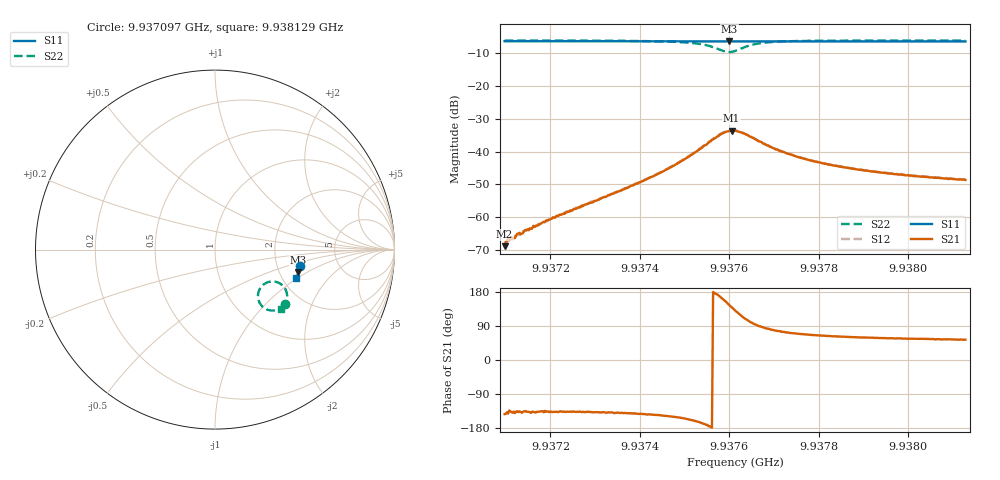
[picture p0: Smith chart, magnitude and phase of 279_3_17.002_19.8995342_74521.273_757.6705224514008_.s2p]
#  HZ  S  RI  R  50.00
! Rohde & Schwarz Vector Network Analyzer
! Rohde-Schwarz,ZNB20-2Port,1311601062101988,3.16
! Created: UTC 3/20/2024, 11:04:37 PM
! freq[Hz]  re:S11  im:S11  re:S21  im:S21  re:S12  im:S12  re:S22  im:S22
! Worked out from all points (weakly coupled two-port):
!   401 points, 9.937097 GHz to 9.938129 GHz, reference 50 ohm
!   highest |S21| = -33.59 dB at 9.937605 GHz (marker M1); lowest = -68.9 dB at 9.937097 GHz (marker M2)
!   lowest |S11| = -6.4 dB at 9.9376 GHz (marker M3), VSWR 2.84, Z = 126 - j41.4 ohm
!   |S11| at or under -10 dB: nowhere
!   |S22| runs from -9.6 to -6.1 dB; largest |S21 - S12| = 0.0009
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9.9370974e9  0.4751 -0.094  -0.000286 -0.000217  -0.000295 -0.000276  0.3928 -0.3049
9.9371077e9  0.475 -0.0946  -0.000303 -0.000322  -0.000356 -0.000297  0.3919 -0.3056
9.9371155e9  0.4748 -0.095  -0.000345 -0.000299  -0.000385 -0.0003  0.3915 -0.3061
9.9371284e9  0.4746 -0.0961  -0.000414 -0.000378  -0.000374 -0.000392  0.3905 -0.3071
9.9371748e9  0.4737 -0.0991  -0.00055 -0.00053  -0.000585 -0.000533  0.3869 -0.3108
9.9372186e9  0.4728 -0.1022  -0.000779 -0.000723  -0.000757 -0.000725  0.3831 -0.314
9.9372702e9  0.4717 -0.1057  -0.00109 -0.001  -0.00109 -0.00101  0.3777 -0.3187
9.9373707e9  0.4698 -0.1124  -0.00213 -0.00175  -0.00216 -0.00177  0.3638 -0.3281
9.9374429e9  0.4682 -0.1173  -0.00382 -0.00263  -0.00392 -0.00258  0.3455 -0.336
9.9374842e9  0.4671 -0.1203  -0.00575 -0.00316  -0.00589 -0.0031  0.3275 -0.3396
9.9375435e9  0.465 -0.1241  -0.012 -0.00242  -0.0122 -0.00226  0.277 -0.327
9.9375822e9  0.4634 -0.1259  -0.0178 0.0049  -0.0181 0.00557  0.2392 -0.2603
9.9376002e9  0.4628 -0.1261  -0.0169 0.0117  -0.0169 0.0124  0.2566 -0.2087
9.9376054e9  0.4629 -0.1263  -0.0159 0.0135  -0.0157 0.0142  0.268 -0.1965
9.9376131e9  0.463 -0.1267  -0.0137 0.0158  -0.0133 0.0162  0.2893 -0.1836
9.9376415e9  0.4634 -0.128  -0.00448 0.0172  -0.00404 0.0175  0.3619 -0.1888
9.9376672e9  0.4634 -0.1299  0.000218 0.0143  0.000389 0.0143  0.3915 -0.2192
9.9377291e9  0.4623 -0.1345  0.00283 0.00894  0.00302 0.00891  0.4016 -0.2681
9.9377859e9  0.4612 -0.1386  0.00296 0.00657  0.00309 0.00661  0.3965 -0.2898
9.9378606e9  0.4594 -0.1435  0.00275 0.00497  0.00284 0.005  0.389 -0.3055
9.9379586e9  0.4568 -0.15  0.00247 0.00389  0.0026 0.00389  0.3806 -0.3184
9.9381288e9  0.4526 -0.1609  0.00218 0.00296  0.00224 0.00298  0.3681 -0.3329
